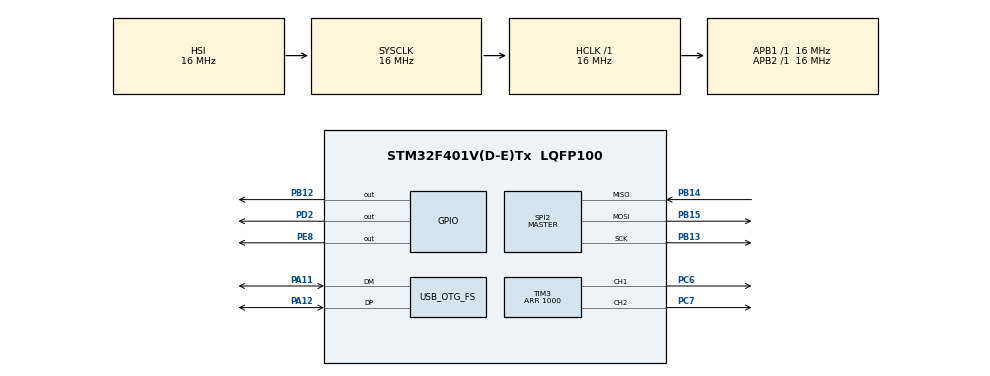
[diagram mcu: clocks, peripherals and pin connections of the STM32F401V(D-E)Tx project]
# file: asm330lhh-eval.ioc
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Mcu.Family=STM32F4
Mcu.Name=STM32F401V(D-E)Tx
Mcu.Package=LQFP100
NVIC.OTG_FS_IRQn=true\:0\:0\:false\:false\:true\:false\:true\:true
NVIC.PriorityGroup=NVIC_PRIORITYGROUP_4
PA11.Mode=Device_Only
PA11.Signal=USB_OTG_FS_DM
PA12.Mode=Device_Only
PA12.Signal=USB_OTG_FS_DP
PB12.GPIO_Speed=GPIO_SPEED_FREQ_VERY_HIGH
PB12.Signal=GPIO_Output
PB13.GPIO_PuPd=GPIO_NOPULL
PB13.Mode=Full_Duplex_Master
PB13.Signal=SPI2_SCK
PB14.Mode=Full_Duplex_Master
PB14.Signal=SPI2_MISO
PB15.Mode=Full_Duplex_Master
PB15.Signal=SPI2_MOSI
PC6.Signal=S_TIM3_CH1
PC7.Signal=S_TIM3_CH2
PD2.PinState=GPIO_PIN_SET
PD2.Signal=GPIO_Output
PE8.PinState=GPIO_PIN_SET
PE8.Signal=GPIO_Output
PH0\ -\ OSC_IN.Mode=HSE-External-Oscillator
PH0\ -\ OSC_IN.Signal=RCC_OSC_IN
PH1\ -\ OSC_OUT.Mode=HSE-External-Oscillator
PH1\ -\ OSC_OUT.Signal=RCC_OSC_OUT
ProjectManager.HeapSize=0x200
ProjectManager.StackSize=0x400
ProjectManager.TargetToolchain=STM32CubeIDE
RCC.48MHZClocksFreq_Value=48000000
RCC.AHBFreq_Value=16000000
RCC.APB1Freq_Value=16000000
RCC.APB2Freq_Value=16000000
RCC.CortexFreq_Value=16000000
RCC.HSE_VALUE=16000000
RCC.HSI_VALUE=16000000
RCC.LSE_VALUE=32768
RCC.PLLM=8
RCC.PLLN=72
RCC.PLLQ=3
RCC.SYSCLKFreq_VALUE=16000000
RCC.VCOOutputFreq_Value=144000000
SH.S_TIM3_CH1.0=TIM3_CH1,PWM Generation1 CH1
SH.S_TIM3_CH2.0=TIM3_CH2,PWM Generation2 CH2
SPI2.BaudRatePrescaler=SPI_BAUDRATEPRESCALER_32
SPI2.CLKPhase=SPI_PHASE_2EDGE
SPI2.CLKPolarity=SPI_POLARITY_HIGH
SPI2.Direction=SPI_DIRECTION_2LINES
SPI2.FirstBit=SPI_FIRSTBIT_MSB
SPI2.Mode=SPI_MODE_MASTER
SPI2.TIMode=SPI_TIMODE_DISABLE
SPI2.VirtualType=VM_MASTER
TIM3.AutoReloadPreload=TIM_AUTORELOAD_PRELOAD_ENABLE
TIM3.Channel-PWM\ Generation1\ CH1=TIM_CHANNEL_1
TIM3.Channel-PWM\ Generation2\ CH2=TIM_CHANNEL_2
TIM3.Period=1000
TIM3.Pulse-PWM\ Generation1\ CH1=500
TIM3.Pulse-PWM\ Generation2\ CH2=500
USB_DEVICE.CLASS_NAME_FS=CDC
USB_DEVICE.VirtualMode-CDC_FS=Cdc
USB_DEVICE.VirtualModeFS=Cdc_FS
USB_OTG_FS.VirtualMode=Device_Only
VP_USB_DEVICE_VS_USB_DEVICE_CDC_FS.Mode=CDC_FS
board=custom

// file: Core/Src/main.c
/* USER CODE BEGIN Header */
/**
  ******************************************************************************
  * @file           : main.c
  * @brief          : Main program body
  ******************************************************************************
  * @attention
  *
  * Copyright (c) 2025 STMicroelectronics.
  * All rights reserved.
  *
  * This software is licensed under terms that can be found in the LICENSE file
  * in the root directory of this software component.
  * If no LICENSE file comes with this software, it is provided AS-IS.
  *
  ******************************************************************************
  */
/* USER CODE END Header */
#include "main.h"
#include "usb_device.h"

/* USER CODE BEGIN Includes */
#include "asm330lhh_reg.h"
#include "usbd_cdc_if.h"
#include <inttypes.h>
/* USER CODE END Includes */

/* USER CODE BEGIN PM */
#define PWM_3V3 915
#define BOOT_TIME 10 //ms
#define CS_up_GPIO_Port GPIOB
#define CS_up_Pin GPIO_PIN_12
#define SENSOR_BUS hspi2

#define PACKET_START 0xAA
#define TYPE_ACCEL 0x01
#define TYPE_GYRO  0x02
#define TYPE_TEMP  0x03

typedef struct {
    uint8_t start;
    uint8_t type;
    uint32_t timestamp;
    float_t data[3];  // X, Y, Z for accel/gyro; [0] for temp
    uint8_t checksum;
} __attribute__((packed)) Packet;  // Ensure packed structure
/* USER CODE END PM */

SPI_HandleTypeDef hspi2;

TIM_HandleTypeDef htim3;

/* USER CODE BEGIN PV */
static int16_t data_raw_acceleration[3];
static int16_t data_raw_angular_rate[3];
static int16_t data_raw_temperature;
static float_t acceleration_mg[3];
static float_t angular_rate_mdps[3];
static float_t temperature_degC;
static uint8_t whoamI, rst;
static uint8_t tx_buffer[1000];

static double timestamp_ms; //used for printout
static uint32_t timestamp;
static float ts_res = 0.000025; // uncalibrated ts_res is 25us
/* USER CODE END PV */

void SystemClock_Config(void);
static void MX_GPIO_Init(void);
static void MX_SPI2_Init(void);
static void MX_TIM3_Init(void);
/* USER CODE BEGIN PFP */
static int32_t platform_write(void *handle, uint8_t reg, const uint8_t *bufp,
                              uint16_t len);
static int32_t platform_read(void *handle, uint8_t reg, uint8_t *bufp,
                             uint16_t len);
static void tx_com( uint8_t *tx_buffer, uint16_t len );
static void platform_delay(uint32_t ms);
static void platform_init(void);

uint8_t calculate_checksum(Packet *pkt);
/* USER CODE END PFP */

/* USER CODE BEGIN 0 */
static void platform_init(void);
/* USER CODE END 0 */

int main(void)
{

  /* MCU Configuration--------------------------------------------------------*/

  /* Reset of all peripherals, Initializes the Flash interface and the Systick. */
  HAL_Init();

  /* Configure the system clock */
  SystemClock_Config();

  /* Initialize all configured peripherals */
  MX_GPIO_Init();
  MX_SPI2_Init();
  MX_USB_DEVICE_Init();
  MX_TIM3_Init();
  /* USER CODE BEGIN 2 */
  platform_init();
  /* Initialize mems driver interface */
	stmdev_ctx_t dev_ctx;
	dev_ctx.write_reg = platform_write;
	dev_ctx.read_reg = platform_read;
	dev_ctx.mdelay = platform_delay;
	dev_ctx.handle = &SENSOR_BUS;
	/* Init test platform */
	platform_init();
	/* Wait sensor boot time */
	platform_delay(BOOT_TIME);
	/* Check device ID */
	asm330lhh_device_id_get(&dev_ctx, &whoamI);

	if (whoamI != ASM330LHH_ID)
	  while (1)

	/* Restore default configuration */
	asm330lhh_reset_set(&dev_ctx, PROPERTY_ENABLE);

	do {
	  asm330lhh_reset_get(&dev_ctx, &rst);
	} while (rst);
	/* Start device configuration. */
	asm330lhh_device_conf_set(&dev_ctx, PROPERTY_ENABLE);
	/* Enable Block Data Update */
	asm330lhh_block_data_update_set(&dev_ctx, PROPERTY_ENABLE);
	/* Set Output Data Rate */
	asm330lhh_xl_data_rate_set(&dev_ctx, ASM330LHH_XL_ODR_104Hz);
	asm330lhh_gy_data_rate_set(&dev_ctx, ASM330LHH_GY_ODR_104Hz);
	/* Set full scale */
	asm330lhh_xl_full_scale_set(&dev_ctx, ASM330LHH_2g);
	asm330lhh_gy_full_scale_set(&dev_ctx, ASM330LHH_250dps);
	/* Configure filtering chain(No aux interface)
	 * Accelerometer - LPF1 + LPF2 path
	 */
	asm330lhh_xl_hp_path_on_out_set(&dev_ctx, ASM330LHH_LP_ODR_DIV_100);
	asm330lhh_xl_filter_lp2_set(&dev_ctx, PROPERTY_ENABLE);

	// enable timestamping
    asm330lhh_timestamp_set(&dev_ctx, PROPERTY_ENABLE);
    asm330lhh_get_ts_res(&dev_ctx, &ts_res);
  /* USER CODE END 2 */

  /* Infinite loop */
  while (1)
  {

    /* USER CODE BEGIN 3 */
  uint8_t reg;

  /* Read output only if new xl value is available */
  asm330lhh_xl_flag_data_ready_get(&dev_ctx, &reg);

  if (reg) {
	/* Read acceleration field data */
	memset(data_raw_acceleration, 0x00, 3 * sizeof(int16_t));
	asm330lhh_acceleration_raw_get(&dev_ctx, data_raw_acceleration);

	// read timestamp
//	read_timestamp0(&dev_ctx, &reg);

	acceleration_mg[0] =
	  asm330lhh_from_fs2g_to_mg(data_raw_acceleration[0]);
	acceleration_mg[1] =
	  asm330lhh_from_fs2g_to_mg(data_raw_acceleration[1]);
	acceleration_mg[2] =
	  asm330lhh_from_fs2g_to_mg(data_raw_acceleration[2]);

	timestamp = 0;
	asm330lhh_timestamp_raw_get(&dev_ctx, &timestamp);

	timestamp_ms = (double)timestamp * (double)ts_res * 1000.0;
	Packet accel_pkt = {
			PACKET_START,
			TYPE_ACCEL,
			timestamp,
			{
					acceleration_mg[0],
					acceleration_mg[1],
					acceleration_mg[2]
			},
			0U
	};
	accel_pkt.checksum = calculate_checksum(&accel_pkt);
	tx_com((char *)&accel_pkt, sizeof(accel_pkt));
//	snprintf((char *)tx_buffer, sizeof(tx_buffer),
//			"%.2lf ms, Acceleration [mg]:%4.2f\t%4.2f\t%4.2f\r\n",
//			timestamp_ms,
//			acceleration_mg[0],
//			acceleration_mg[1],
//			acceleration_mg[2]);
//	tx_com(tx_buffer, strlen((char const *)tx_buffer));
  }
//
  asm330lhh_gy_flag_data_ready_get(&dev_ctx, &reg);

  if (reg) {
	/* Read angular rate field data */
	memset(data_raw_angular_rate, 0x00, 3 * sizeof(int16_t));
	asm330lhh_angular_rate_raw_get(&dev_ctx, data_raw_angular_rate);
	angular_rate_mdps[0] =
	  asm330lhh_from_fs250dps_to_mdps(data_raw_angular_rate[0]);
	angular_rate_mdps[1] =
	  asm330lhh_from_fs250dps_to_mdps(data_raw_angular_rate[1]);
	angular_rate_mdps[2] =
	  asm330lhh_from_fs250dps_to_mdps(data_raw_angular_rate[2]);

	timestamp = 0;
	asm330lhh_timestamp_raw_get(&dev_ctx, &timestamp);

	timestamp_ms = (double)timestamp * (double)ts_res * 1000.0;
	Packet gyro_pkt = {
			PACKET_START,
			TYPE_GYRO,
			timestamp,
			{
					angular_rate_mdps[0],
					angular_rate_mdps[1],
					angular_rate_mdps[2]
			},
			0U
	};
	gyro_pkt.checksum = calculate_checksum(&gyro_pkt);
	tx_com((char *)&gyro_pkt, sizeof(gyro_pkt));
//	snprintf((char *)tx_buffer, sizeof(tx_buffer),
//			"Angular rate [mdps]:%4.2f\t%4.2f\t%4.2f\r\n",
//			angular_rate_mdps[0], angular_rate_mdps[1], angular_rate_mdps[2]);
//	tx_com(tx_buffer, strlen((char const *)tx_buffer));
  }
//
//  asm330lhh_temp_flag_data_ready_get(&dev_ctx, &reg);
//
//  if (reg) {
//	/* Read temperature data */
//	memset(&data_raw_temperature, 0x00, sizeof(int16_t));
//	asm330lhh_temperature_raw_get(&dev_ctx, &data_raw_temperature);
//	temperature_degC = asm330lhh_from_lsb_to_celsius(
//						 data_raw_temperature);
//	snprintf((char *)tx_buffer, sizeof(tx_buffer),
//			"Temperature [degC]:%6.2f\r\n", temperature_degC);
//	tx_com(tx_buffer, strlen((char const *)tx_buffer));
//  }
//  HAL_GPIO_TogglePin(GPIOE,GPIO_PIN_8);
  }

  /* USER CODE END 3 */
}

void SystemClock_Config(void)
{
  RCC_OscInitTypeDef RCC_OscInitStruct = {0};
  RCC_ClkInitTypeDef RCC_ClkInitStruct = {0};

  /** Configure the main internal regulator output voltage
  */
  __HAL_RCC_PWR_CLK_ENABLE();
  __HAL_PWR_VOLTAGESCALING_CONFIG(PWR_REGULATOR_VOLTAGE_SCALE2);

  /** Initializes the RCC Oscillators according to the specified parameters
  * in the RCC_OscInitTypeDef structure.
  */
  RCC_OscInitStruct.OscillatorType = RCC_OSCILLATORTYPE_HSI|RCC_OSCILLATORTYPE_HSE;
  RCC_OscInitStruct.HSEState = RCC_HSE_ON;
  RCC_OscInitStruct.HSIState = RCC_HSI_ON;
  RCC_OscInitStruct.HSICalibrationValue = RCC_HSICALIBRATION_DEFAULT;
  RCC_OscInitStruct.PLL.PLLState = RCC_PLL_ON;
  RCC_OscInitStruct.PLL.PLLSource = RCC_PLLSOURCE_HSE;
  RCC_OscInitStruct.PLL.PLLM = 8;
  RCC_OscInitStruct.PLL.PLLN = 72;
  RCC_OscInitStruct.PLL.PLLP = RCC_PLLP_DIV2;
  RCC_OscInitStruct.PLL.PLLQ = 3;
  if (HAL_RCC_OscConfig(&RCC_OscInitStruct) != HAL_OK)
  {
    Error_Handler();
  }

  /** Initializes the CPU, AHB and APB buses clocks
  */
  RCC_ClkInitStruct.ClockType = RCC_CLOCKTYPE_HCLK|RCC_CLOCKTYPE_SYSCLK
                              |RCC_CLOCKTYPE_PCLK1|RCC_CLOCKTYPE_PCLK2;
  RCC_ClkInitStruct.SYSCLKSource = RCC_SYSCLKSOURCE_HSI;
  RCC_ClkInitStruct.AHBCLKDivider = RCC_SYSCLK_DIV1;
  RCC_ClkInitStruct.APB1CLKDivider = RCC_HCLK_DIV1;
  RCC_ClkInitStruct.APB2CLKDivider = RCC_HCLK_DIV1;

  if (HAL_RCC_ClockConfig(&RCC_ClkInitStruct, FLASH_LATENCY_0) != HAL_OK)
  {
    Error_Handler();
  }
}

static void MX_SPI2_Init(void)
{

  /* SPI2 parameter configuration*/
  hspi2.Instance = SPI2;
  hspi2.Init.Mode = SPI_MODE_MASTER;
  hspi2.Init.Direction = SPI_DIRECTION_2LINES;
  hspi2.Init.DataSize = SPI_DATASIZE_8BIT;
  hspi2.Init.CLKPolarity = SPI_POLARITY_HIGH;
  hspi2.Init.CLKPhase = SPI_PHASE_2EDGE;
  hspi2.Init.NSS = SPI_NSS_SOFT;
  hspi2.Init.BaudRatePrescaler = SPI_BAUDRATEPRESCALER_32;
  hspi2.Init.FirstBit = SPI_FIRSTBIT_MSB;
  hspi2.Init.TIMode = SPI_TIMODE_DISABLE;
  hspi2.Init.CRCCalculation = SPI_CRCCALCULATION_DISABLE;
  hspi2.Init.CRCPolynomial = 10;
  if (HAL_SPI_Init(&hspi2) != HAL_OK)
  {
    Error_Handler();
  }

}

static void MX_TIM3_Init(void)
{

  TIM_MasterConfigTypeDef sMasterConfig = {0};
  TIM_OC_InitTypeDef sConfigOC = {0};

  htim3.Instance = TIM3;
  htim3.Init.Prescaler = 0;
  htim3.Init.CounterMode = TIM_COUNTERMODE_UP;
  htim3.Init.Period = 1000;
  htim3.Init.ClockDivision = TIM_CLOCKDIVISION_DIV1;
  htim3.Init.AutoReloadPreload = TIM_AUTORELOAD_PRELOAD_ENABLE;
  if (HAL_TIM_PWM_Init(&htim3) != HAL_OK)
  {
    Error_Handler();
  }
  sMasterConfig.MasterOutputTrigger = TIM_TRGO_RESET;
  sMasterConfig.MasterSlaveMode = TIM_MASTERSLAVEMODE_DISABLE;
  if (HAL_TIMEx_MasterConfigSynchronization(&htim3, &sMasterConfig) != HAL_OK)
  {
    Error_Handler();
  }
  sConfigOC.OCMode = TIM_OCMODE_PWM1;
  sConfigOC.Pulse = 500;
  sConfigOC.OCPolarity = TIM_OCPOLARITY_HIGH;
  sConfigOC.OCFastMode = TIM_OCFAST_DISABLE;
  if (HAL_TIM_PWM_ConfigChannel(&htim3, &sConfigOC, TIM_CHANNEL_1) != HAL_OK)
  {
    Error_Handler();
  }
  if (HAL_TIM_PWM_ConfigChannel(&htim3, &sConfigOC, TIM_CHANNEL_2) != HAL_OK)
  {
    Error_Handler();
  }
  HAL_TIM_MspPostInit(&htim3);

}

static void MX_GPIO_Init(void)
{
  GPIO_InitTypeDef GPIO_InitStruct = {0};

  /* GPIO Ports Clock Enable */
  __HAL_RCC_GPIOH_CLK_ENABLE();
  __HAL_RCC_GPIOE_CLK_ENABLE();
  __HAL_RCC_GPIOB_CLK_ENABLE();
  __HAL_RCC_GPIOC_CLK_ENABLE();
  __HAL_RCC_GPIOA_CLK_ENABLE();
  __HAL_RCC_GPIOD_CLK_ENABLE();

  /*Configure GPIO pin Output Level */
  HAL_GPIO_WritePin(GPIOE, GPIO_PIN_8, GPIO_PIN_SET);

  /*Configure GPIO pin Output Level */
  HAL_GPIO_WritePin(GPIOB, GPIO_PIN_12, GPIO_PIN_RESET);

  /*Configure GPIO pin Output Level */
  HAL_GPIO_WritePin(GPIOD, GPIO_PIN_2, GPIO_PIN_SET);

  /*Configure GPIO pin : PE8 */
  GPIO_InitStruct.Pin = GPIO_PIN_8;
  GPIO_InitStruct.Mode = GPIO_MODE_OUTPUT_PP;
  GPIO_InitStruct.Pull = GPIO_NOPULL;
  GPIO_InitStruct.Speed = GPIO_SPEED_FREQ_LOW;
  HAL_GPIO_Init(GPIOE, &GPIO_InitStruct);

  /*Configure GPIO pin : PB12 */
  GPIO_InitStruct.Pin = GPIO_PIN_12;
  GPIO_InitStruct.Mode = GPIO_MODE_OUTPUT_PP;
  GPIO_InitStruct.Pull = GPIO_NOPULL;
  GPIO_InitStruct.Speed = GPIO_SPEED_FREQ_VERY_HIGH;
  HAL_GPIO_Init(GPIOB, &GPIO_InitStruct);

  /*Configure GPIO pin : PD2 */
  GPIO_InitStruct.Pin = GPIO_PIN_2;
  GPIO_InitStruct.Mode = GPIO_MODE_OUTPUT_PP;
  GPIO_InitStruct.Pull = GPIO_NOPULL;
  GPIO_InitStruct.Speed = GPIO_SPEED_FREQ_LOW;
  HAL_GPIO_Init(GPIOD, &GPIO_InitStruct);

}

/* USER CODE BEGIN 4 */
static void platform_init(void)
{
  // These two PWMs are needed to enable power to the sensor
  // They should be enabled on PC6, PC7
  TIM3->CCR1 = PWM_3V3;
  TIM3->CCR2 = PWM_3V3;
  HAL_TIM_PWM_Start(&htim3, TIM_CHANNEL_1);
  HAL_TIM_PWM_Start(&htim3, TIM_CHANNEL_2);
  HAL_Delay(1000);
}

/*
 * @brief  platform specific delay (platform dependent)
 *
 * @param  ms        delay in ms
 *
 */
static void platform_delay(uint32_t ms)
{
  HAL_Delay(ms);
}

/*
 * @brief  Write generic device register (platform dependent)
 *
 * @param  tx_buffer     buffer to transmit
 * @param  len           number of byte to send
 *
 */
static void tx_com(uint8_t *tx_buffer, uint16_t len)
{
  CDC_Transmit_FS(tx_buffer, len);
}

/*
 * @brief  Read generic device register (platform dependent)
 *
 * @param  handle    customizable argument. In this examples is used in
 *                   order to select the correct sensor bus handler.
 * @param  reg       register to read
 * @param  bufp      pointer to buffer that store the data read
 * @param  len       number of consecutive register to read
 *
 */
static int32_t platform_read(void *handle, uint8_t reg, uint8_t *bufp,
                             uint16_t len)
{
  reg |= 0x80;
  HAL_GPIO_WritePin(CS_up_GPIO_Port, CS_up_Pin, GPIO_PIN_RESET);
  HAL_SPI_Transmit(handle, &reg, 1, 1000);
  HAL_SPI_Receive(handle, bufp, len, 1000);
  HAL_GPIO_WritePin(CS_up_GPIO_Port, CS_up_Pin, GPIO_PIN_SET);
  return 0;
}

/*
 * @brief  Write generic device register (platform dependent)
 *
 * @param  handle    customizable argument. In this examples is used in
 *                   order to select the correct sensor bus handler.
 * @param  reg       register to write
 * @param  bufp      pointer to data to write in register reg
 * @param  len       number of consecutive register to write
 *
 */
static int32_t platform_write(void *handle, uint8_t reg, const uint8_t *bufp,
                              uint16_t len)
{
  HAL_GPIO_WritePin(CS_up_GPIO_Port, CS_up_Pin, GPIO_PIN_RESET);
  HAL_SPI_Transmit(handle, &reg, 1, 1000);
  HAL_SPI_Transmit(handle, (uint8_t*) bufp, len, 1000);
  HAL_GPIO_WritePin(CS_up_GPIO_Port, CS_up_Pin, GPIO_PIN_SET);
  return 0;
}

// XOR Checksum calculation
uint8_t calculate_checksum(Packet *pkt) {
    uint8_t *bytes = (uint8_t *)pkt;
    uint8_t checksum = 0;
    for (size_t i = 0; i < sizeof(Packet) - 1; i++) {
        checksum ^= bytes[i];  // XOR all bytes except start and checksum
    }
    return checksum;
}
/* USER CODE END 4 */

void Error_Handler(void)
{
  __disable_irq();
  while (1)
  {
  }
}
